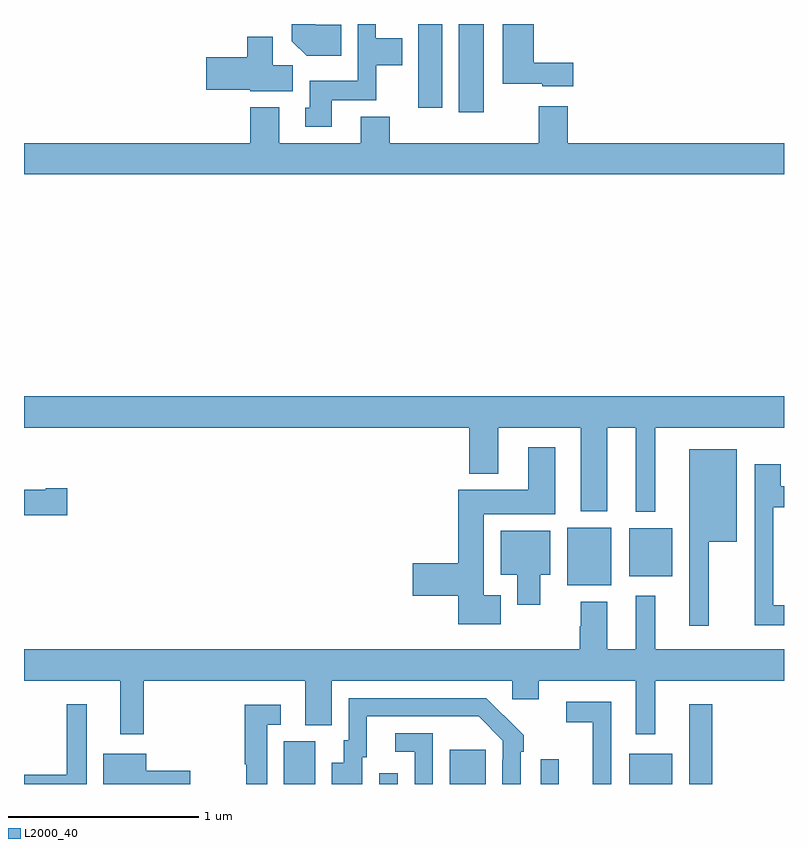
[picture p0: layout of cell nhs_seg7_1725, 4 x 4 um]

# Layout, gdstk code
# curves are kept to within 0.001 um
import gdstk
lib = gdstk.Library(unit=1e-6, precision=1e-09)
def R(c, l, rs):  # rectangles x0, y0, x1, y1
    for r in rs: c.add(gdstk.rectangle(r[:2], r[2:], *l))
def P(c, l, *ps):  # polygons
    for p in ps: c.add(gdstk.Polygon(p, *l))
L2000_40 = (2000, 40)

nhs_seg7_1725 = lib.new_cell('nhs_seg7_1725')
R(nhs_seg7_1725, L2000_40, [(228.368,1072,228.532,1072.224), (228.87,1072,228.966,1072.057), (229.241,1072,229.429,1072.18), (229.719,1072,229.815,1072.129), (230.186,1072,230.413,1072.159), (230.501,1072,230.623,1072.42), (229.859,1073.045,230.092,1073.35), (230.186,1073.093,230.413,1073.347), (229.289,1075.536,229.42,1076), (229.076,1075.56,229.201,1076)])
P(nhs_seg7_1725, L2000_40, [(228.619,1075.598),(228.855,1075.598),(228.855,1075.784),(228.991,1075.784),(228.991,1075.924),(228.852,1075.924),(228.852,1076),(228.756,1076),(228.756,1075.702),(228.503,1075.702),(228.503,1075.56),(228.479,1075.56),(228.479,1075.458),(228.619,1075.458)],
  [(228.671,1075.996),(228.532,1075.996),(228.532,1076),(228.41,1076),(228.41,1075.91),(228.488,1075.832),(228.671,1075.832)],
  [(229.891,1075.795),(229.682,1075.795),(229.682,1075.999),(229.52,1075.999),(229.52,1075.685),(229.728,1075.685),(229.728,1075.673),(229.891,1075.673)],
  [(228.415,1075.784),(228.31,1075.784),(228.31,1075.933),(228.176,1075.933),(228.176,1075.826),(227.958,1075.826),(227.958,1075.655),(228.192,1075.655),(228.192,1075.646),(228.415,1075.646)],
  [(231,1075.372),(229.862,1075.372),(229.862,1075.567),(229.709,1075.567),(229.709,1075.372),(228.926,1075.372),(228.926,1075.513),(228.773,1075.513),(228.773,1075.372),(228.343,1075.372),(228.343,1075.561),(228.191,1075.561),(228.191,1075.372),(227,1075.372),(227,1075.208),(231,1075.208)],
  [(230.323,1073.876),(231,1073.876),(231,1074.04),(227,1074.04),(227,1073.876),(229.343,1073.876),(229.343,1073.633),(229.495,1073.633),(229.495,1073.876),(229.931,1073.876),(229.931,1073.435),(230.071,1073.435),(230.071,1073.876),(230.219,1073.876),(230.219,1073.432),(230.323,1073.432)],
  [(229.51,1072.993),(229.42,1072.993),(229.42,1073.42),(229.795,1073.42),(229.795,1073.773),(229.655,1073.773),(229.655,1073.548),(229.286,1073.548),(229.286,1073.162),(229.047,1073.162),(229.047,1072.991),(229.286,1072.991),(229.286,1072.841),(229.51,1072.841)],
  [(230.605,1073.276),(230.752,1073.276),(230.752,1073.761),(230.501,1073.761),(230.501,1072.833),(230.605,1072.833)],
  [(231,1072.941),(230.943,1072.941),(230.943,1073.457),(231,1073.457),(231,1073.566),(230.983,1073.566),(230.983,1073.683),(230.847,1073.683),(230.847,1073.18),(230.845,1073.18),(230.845,1072.836),(231,1072.836)],
  [(227.227,1073.556),(227.114,1073.556),(227.114,1073.548),(227,1073.548),(227,1073.414),(227.227,1073.414)],
  [(229.717,1073.102),(229.771,1073.102),(229.771,1073.332),(229.508,1073.332),(229.508,1073.102),(229.595,1073.102),(229.595,1072.944),(229.717,1072.944)],
  [(227.629,1072.544),(228.479,1072.544),(228.479,1072.309),(228.619,1072.309),(228.619,1072.544),(229.569,1072.544),(229.569,1072.446),(229.708,1072.446),(229.708,1072.544),(230.219,1072.544),(230.219,1072.263),(230.323,1072.263),(230.323,1072.544),(231,1072.544),(231,1072.708),(230.323,1072.708),(230.323,1072.99),(230.219,1072.99),(230.219,1072.708),(230.071,1072.708),(230.071,1072.96),(229.931,1072.96),(229.931,1072.829),(229.924,1072.829),(229.924,1072.708),(227,1072.708),(227,1072.544),(227.507,1072.544),(227.507,1072.263),(227.629,1072.263)],
  [(228.781,1072.14),(228.805,1072.14),(228.805,1072.356),(229.393,1072.356),(229.521,1072.227),(229.521,1072.127),(229.518,1072.127),(229.518,1072),(229.614,1072),(229.614,1072.169),(229.629,1072.169),(229.629,1072.257),(229.432,1072.452),(228.708,1072.452),(228.708,1072.23),(228.683,1072.23),(228.683,1072.111),(228.62,1072.111),(228.62,1072),(228.781,1072)],
  [(230.091,1072.434),(229.854,1072.434),(229.854,1072.326),(229.994,1072.326),(229.994,1072),(230.091,1072)],
  [(227.329,1072.42),(227.225,1072.42),(227.225,1072.049),(227,1072.049),(227,1072),(227.329,1072)],
  [(228.279,1072.311),(228.352,1072.311),(228.352,1072.417),(228.163,1072.417),(228.163,1072.104),(228.171,1072.104),(228.171,1072),(228.279,1072)],
  [(229.152,1072.266),(228.954,1072.266),(228.954,1072.17),(229.056,1072.17),(229.056,1072),(229.152,1072)],
  [(227.875,1072.071),(227.644,1072.071),(227.644,1072.159),(227.417,1072.159),(227.417,1072),(227.875,1072)])

lib.write_gds('nhs_seg7_1725.gds')
